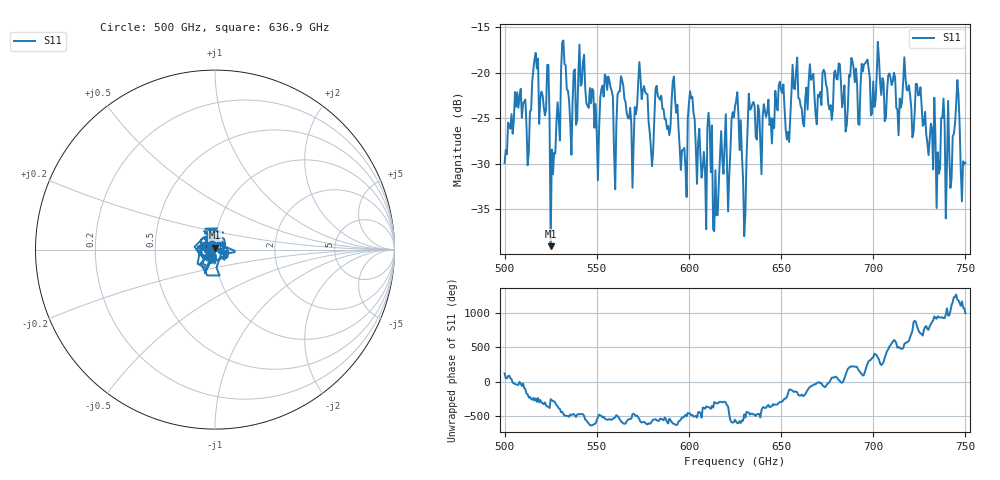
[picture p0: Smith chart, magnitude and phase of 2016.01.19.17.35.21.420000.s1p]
!Created with skrf (http://scikit-rf.org).
# GHz S RI R 50.0
!freq ReS11 ImS11
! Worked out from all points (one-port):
!   401 points, 500 GHz to 750 GHz, reference 50 ohm
!   lowest |S11| = -39.1 dB at 525 GHz (marker M1), VSWR 1.02, Z = 49.7 + j1.08 ohm
!   |S11| at or under -10 dB: start of sweep to end of sweep
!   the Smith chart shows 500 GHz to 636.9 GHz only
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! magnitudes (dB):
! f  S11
! 500 GHz  -29.9
! 506.9 GHz  -22.2
! 513.1 GHz  -28.8
! 516.9 GHz  -17.8
! 525 GHz  -39.1
! 531.2 GHz  -16.7
! 541.9 GHz  -21.2
! 550 GHz  -26.7
! 562.5 GHz  -22.1
! 568.8 GHz  -25.6
! 573.8 GHz  -20.7
! 579.4 GHz  -28.3
! 583.1 GHz  -22.6
! 593.8 GHz  -23.5
! 597.5 GHz  -28.3
! 601.2 GHz  -22.8
! 608.1 GHz  -28.7
! 611.2 GHz  -26.0
! 614.4 GHz  -30.7
! 625 GHz  -23.7
! 630 GHz  -38.0
! 633.8 GHz  -24.0
! 656.2 GHz  -19.1
! 687.5 GHz  -20.4
! 718.8 GHz  -22.0
! 735 GHz  -28.7
! 745.6 GHz  -20.8
! 750 GHz  -29.9
